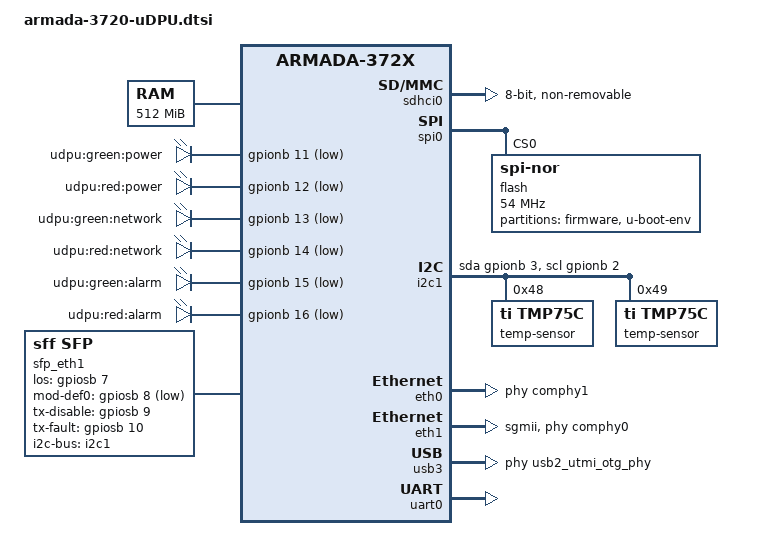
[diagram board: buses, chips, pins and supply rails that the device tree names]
// SPDX-License-Identifier: (GPL-2.0+ OR MIT)
/*
 * Device tree for the uDPU board.
 * Based on Marvell Armada 3720 development board (DB-88F3720-DDR3)
 * Copyright (C) 2016 Marvell
 * Copyright (C) 2019 Methode Electronics
 * Copyright (C) 2019 Telus
 *
 * Vladimir Vid <vladimir.vid@sartura.hr>
 */

/dts-v1/;

#include <dt-bindings/gpio/gpio.h>
#include "armada-372x.dtsi"

/ {
	chosen {
		stdout-path = "serial0:115200n8";
	};

	memory@0 {
		device_type = "memory";
		reg = <0x00000000 0x00000000 0x00000000 0x20000000>;
	};

	leds {
		compatible = "gpio-leds";
		pinctrl-names = "default";
		pinctrl-0 = <&spi_quad_pins>;

		led-power1 {
			label = "udpu:green:power";
			gpios = <&gpionb 11 GPIO_ACTIVE_LOW>;
		};

		led-power2 {
			label = "udpu:red:power";
			gpios = <&gpionb 12 GPIO_ACTIVE_LOW>;
		};

		led-network1 {
			label = "udpu:green:network";
			gpios = <&gpionb 13 GPIO_ACTIVE_LOW>;
		};

		led-network2 {
			label = "udpu:red:network";
			gpios = <&gpionb 14 GPIO_ACTIVE_LOW>;
		};

		led-alarm1 {
			label = "udpu:green:alarm";
			gpios = <&gpionb 15 GPIO_ACTIVE_LOW>;
		};

		led-alarm2 {
			label = "udpu:red:alarm";
			gpios = <&gpionb 16 GPIO_ACTIVE_LOW>;
		};
	};

	sfp_eth1: sfp-eth1 {
		compatible = "sff,sfp";
		i2c-bus = <&i2c1>;
		los-gpios = <&gpiosb 7 GPIO_ACTIVE_HIGH>;
		mod-def0-gpios = <&gpiosb 8 GPIO_ACTIVE_LOW>;
		tx-disable-gpios = <&gpiosb 9 GPIO_ACTIVE_HIGH>;
		tx-fault-gpios = <&gpiosb 10 GPIO_ACTIVE_HIGH>;
		maximum-power-milliwatt = <3000>;
	};
};

&sdhci0 {
	status = "okay";
	bus-width = <8>;
	mmc-ddr-1_8v;
	mmc-hs400-1_8v;
	marvell,pad-type = "fixed-1-8v";
	non-removable;
	no-sd;
	no-sdio;
};

&spi0 {
	status = "okay";

	flash@0 {
		compatible = "jedec,spi-nor";
		reg = <0>;
		spi-max-frequency = <54000000>;

		partitions {
			compatible = "fixed-partitions";
			#address-cells = <1>;
			#size-cells = <1>;

			partition@0 {
				label = "firmware";
				reg = <0x0 0x180000>;
			};

			partition@180000 {
				label = "u-boot-env";
				reg = <0x180000 0x10000>;
			};
		};
	};
};

&spi_quad_pins {
	function = "gpio";
};

&pinctrl_nb {
	i2c2_recovery_pins: i2c2-recovery-pins {
		groups = "i2c2";
		function = "gpio";
	};
};

&i2c1 {
	status = "okay";
	pinctrl-names = "default", "recovery";
	pinctrl-0 = <&i2c2_pins>;
	pinctrl-1 = <&i2c2_recovery_pins>;
	/delete-property/mrvl,i2c-fast-mode;
	scl-gpios = <&gpionb 2 (GPIO_ACTIVE_HIGH | GPIO_OPEN_DRAIN)>;
	sda-gpios = <&gpionb 3 (GPIO_ACTIVE_HIGH | GPIO_OPEN_DRAIN)>;

	temp-sensor@48 {
		compatible = "ti,tmp75c";
		reg = <0x48>;
	};

	temp-sensor@49 {
		compatible = "ti,tmp75c";
		reg = <0x49>;
	};
};

&eth0 {
	status = "okay";
	managed = "in-band-status";
	phys = <&comphy1 0>;
};

&eth1 {
	phy-mode = "sgmii";
	status = "okay";
	managed = "in-band-status";
	phys = <&comphy0 1>;
	sfp = <&sfp_eth1>;
};

&usb3 {
	status = "okay";
	phys = <&usb2_utmi_otg_phy>;
	phy-names = "usb2-utmi-otg-phy";
};

&uart0 {
	status = "okay";
};
